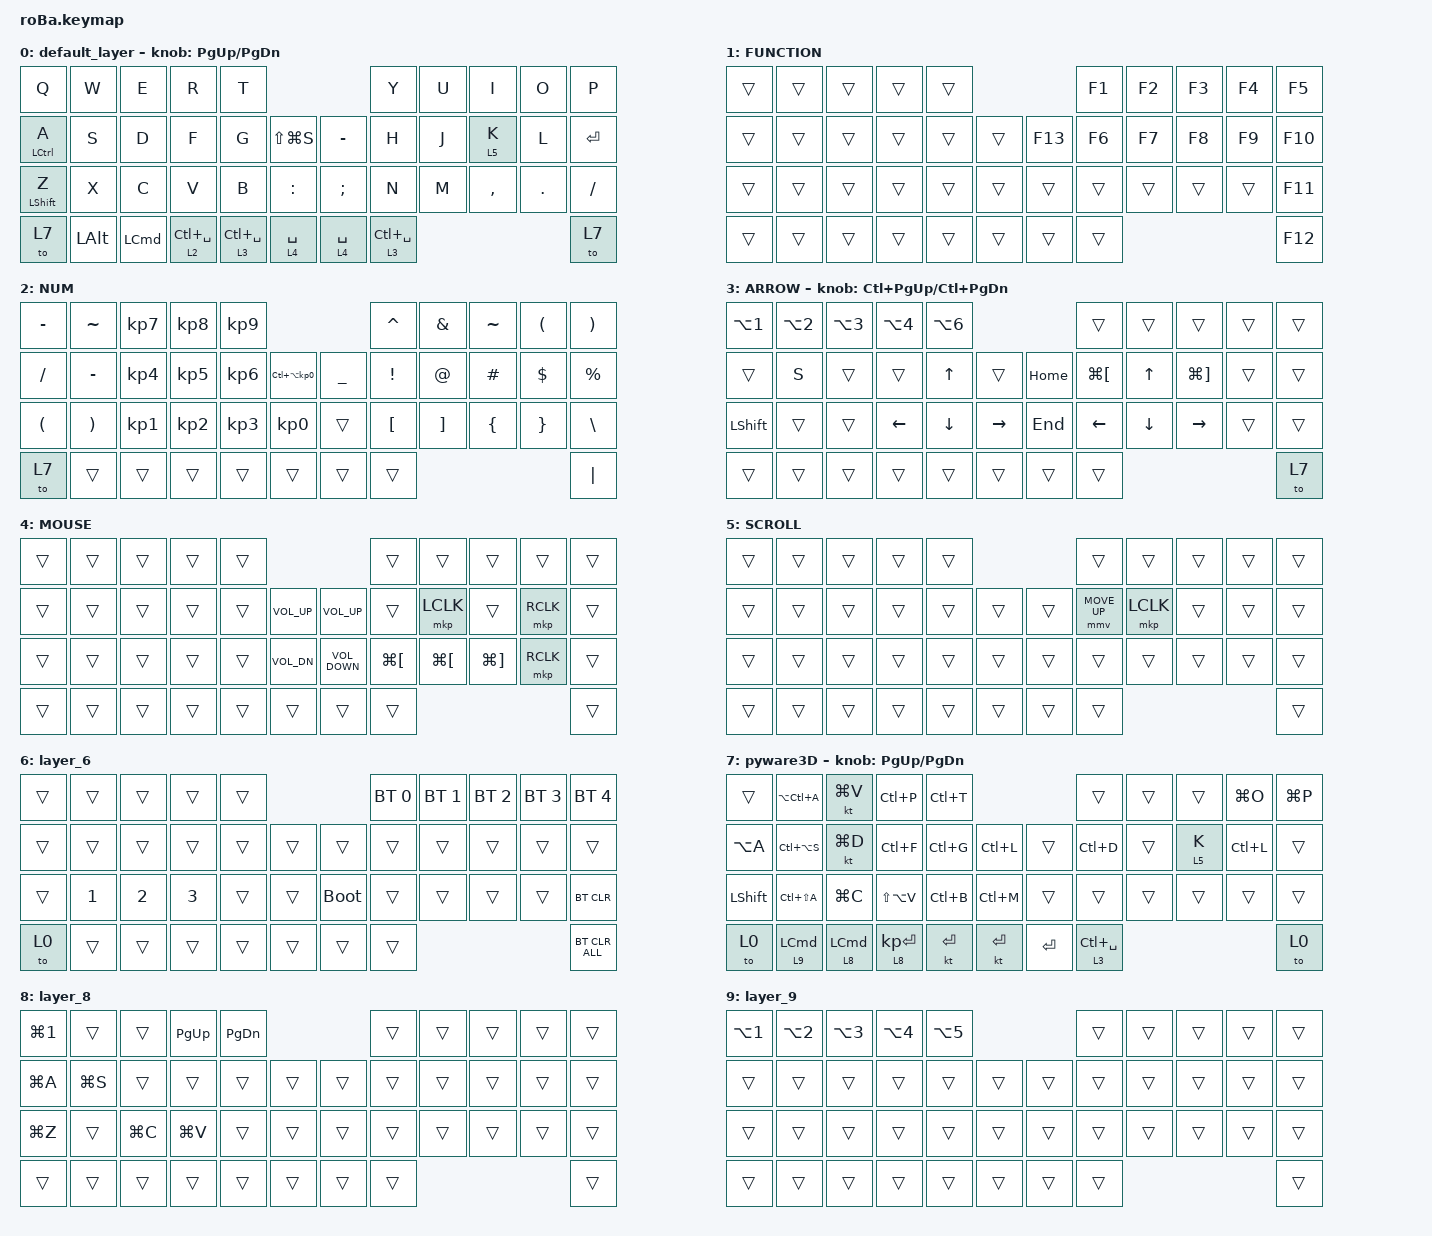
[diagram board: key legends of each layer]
#include <behaviors.dtsi>
#include <dt-bindings/zmk/bt.h>
#include <dt-bindings/zmk/keys.h>
#include <dt-bindings/zmk/pointing.h>

&mt {
    flavor = "balanced";
    quick-tap-ms = <0>;
};

&trackball {
    automouse-layer = <4>;
    scroll-layers = <5>;

    // arrows {
    //     layers = <3>;
    //     bindings =
    //         <&kp RIGHT_ARROW>,
    //         <&kp LEFT_ARROW>,
    //         <&kp UP_ARROW>,
    //         <&kp DOWN_ARROW>;
    //     tick = <10>;
    //     wait-ms = <5>;
    //     tap-ms = <5>;
    // };
};

/ {
    combos {
        compatible = "zmk,combos";

        tab {
            bindings = <&kp TAB>;
            key-positions = <11 12>;
        };

        shift_tab {
            bindings = <&kp LS(TAB)>;
            key-positions = <12 13>;
        };

        double_quotation {
            bindings = <&kp MINUS>;
            key-positions = <20 21>;
        };

        eq {
            bindings = <&kp EQUAL>;
            key-positions = <24 25>;
        };

        bs {
            bindings = <&kp BACKSPACE>;
            key-positions = <8 9>;
        };

        MC {
            bindings = <&kp LC(UP_ARROW)>;
            key-positions = <18 19>;
        };

        MCL {
            bindings = <&kp RC(LEFT)>;
            key-positions = <17 18>;
        };

        MCR {
            bindings = <&kp RC(RIGHT)>;
            key-positions = <19 20>;
        };
    };

    macros {
        to_layer_0: to_layer_0 {
            compatible = "zmk,behavior-macro-one-param";
            #binding-cells = <1>;
            bindings = <&to 0 &macro_param_1to1 &kp MACRO_PLACEHOLDER>;
            label = "TO_LAYER_0";
        };
    };

    behaviors {
        lt_to_layer_0: lt_to_layer_0 {
            compatible = "zmk,behavior-hold-tap";
            label = "LAYER_TAP_TO_0";
            bindings = <&mo>, <&to_layer_0>;

            #binding-cells = <2>;
            tapping-term-ms = <200>;
        };
    };

    keymap {
        compatible = "zmk,keymap";

        default_layer {
            bindings = <
&kp Q               &kp W         &kp E             &kp R            &kp T                                              &kp Y            &kp U  &kp I      &kp O    &kp P
&mt LEFT_CONTROL A  &kp S         &kp D             &kp F            &kp G            &kp LS(LG(S))      &kp MINUS      &kp H            &kp J  &lt 5 K    &kp L    &kp RETURN
&mt LEFT_SHIFT Z    &kp X         &kp C             &kp V            &kp B            &kp COLON          &kp SEMICOLON  &kp N            &kp M  &kp COMMA  &kp DOT  &kp SLASH
&to 7               &kp LEFT_ALT  &kp LEFT_COMMAND  &lt 2 LC(SPACE)  &lt 3 LC(SPACE)  &lt 4 SPACE        &lt 4 SPACE    &lt 3 LC(SPACE)                             &to 7
            >;

            sensor-bindings = <&inc_dec_kp PAGE_UP PAGE_DOWN>;
        };

        FUNCTION {
            bindings = <
&trans  &trans  &trans  &trans  &trans                       &kp F1  &kp F2  &kp F3  &kp F4  &kp F5
&trans  &trans  &trans  &trans  &trans  &trans      &kp F13  &kp F6  &kp F7  &kp F8  &kp F9  &kp F10
&trans  &trans  &trans  &trans  &trans  &trans      &trans   &trans  &trans  &trans  &trans  &kp F11
&trans  &trans  &trans  &trans  &trans  &trans      &trans   &trans                          &kp F12
            >;
        };

        NUM {
            bindings = <
&kp MINUS             &kp TILDE              &kp KP_NUMBER_7  &kp KP_NUMBER_8  &kp KP_NUMBER_9                                               &kp CARET         &kp AMPERSAND      &kp TILDE       &kp LEFT_PARENTHESIS  &kp RIGHT_PARENTHESIS
&kp SLASH             &kp MINUS              &kp KP_NUMBER_4  &kp KP_NUMBER_5  &kp KP_NUMBER_6  &kp LC(LA(KP_NUMBER_0))      &kp UNDERSCORE  &kp EXCLAMATION   &kp AT_SIGN        &kp HASH        &kp DOLLAR            &kp PERCENT
&kp LEFT_PARENTHESIS  &kp RIGHT_PARENTHESIS  &kp KP_NUMBER_1  &kp KP_NUMBER_2  &kp KP_NUMBER_3  &kp KP_NUMBER_0              &trans          &kp LEFT_BRACKET  &kp RIGHT_BRACKET  &kp LEFT_BRACE  &kp RIGHT_BRACE       &kp BACKSLASH
&to 7                 &trans                 &trans           &trans           &trans           &trans                       &trans          &trans                                                                     &kp PIPE
            >;
        };

        ARROW {
            bindings = <
&kp LA(NUMBER_1)  &kp LA(NUMBER_2)  &kp LA(NUMBER_3)  &kp LA(NUMBER_4)  &kp LA(NUMBER_6)                           &trans                &trans          &trans                 &trans  &trans
&trans            &kp S             &trans            &trans            &kp UP_ARROW      &trans         &kp HOME  &kp LG(LEFT_BRACKET)  &kp UP_ARROW    &kp LG(RIGHT_BRACKET)  &trans  &trans
&kp LEFT_SHIFT    &trans            &trans            &kp LEFT_ARROW    &kp DOWN          &kp RIGHT      &kp END   &kp LEFT              &kp DOWN_ARROW  &kp RIGHT              &trans  &trans
&trans            &trans            &trans            &trans            &trans            &trans         &trans    &trans                                                               &to 7
            >;

            sensor-bindings = <&inc_dec_kp LC(PAGE_UP) LC(PAGE_DOWN)>;
        };

        MOUSE {
            bindings = <
&trans  &trans  &trans  &trans  &trans                                          &trans                &trans                &trans                 &trans     &trans
&trans  &trans  &trans  &trans  &trans  &kp K_VOLUME_UP      &kp K_VOLUME_UP    &trans                &mkp LCLK             &trans                 &mkp RCLK  &trans
&trans  &trans  &trans  &trans  &trans  &kp K_VOL_DN         &kp K_VOLUME_DOWN  &kp LG(LEFT_BRACKET)  &kp LG(LEFT_BRACKET)  &kp LG(RIGHT_BRACKET)  &mkp RCLK  &trans
&trans  &trans  &trans  &trans  &trans  &trans               &trans             &trans                                                                        &trans
            >;
        };

        SCROLL {
            bindings = <
&trans  &trans  &trans  &trans  &trans                      &trans        &trans     &trans  &trans  &trans
&trans  &trans  &trans  &trans  &trans  &trans      &trans  &mmv MOVE_UP  &mkp LCLK  &trans  &trans  &trans
&trans  &trans  &trans  &trans  &trans  &trans      &trans  &trans        &trans     &trans  &trans  &trans
&trans  &trans  &trans  &trans  &trans  &trans      &trans  &trans                                   &trans
            >;
        };

        layer_6 {
            bindings = <
&trans  &trans        &trans        &trans        &trans                           &bt BT_SEL 0  &bt BT_SEL 1  &bt BT_SEL 2  &bt BT_SEL 3  &bt BT_SEL 4
&trans  &trans        &trans        &trans        &trans  &trans      &trans       &trans        &trans        &trans        &trans        &trans
&trans  &kp NUMBER_1  &kp NUMBER_2  &kp NUMBER_3  &trans  &trans      &bootloader  &trans        &trans        &trans        &trans        &bt BT_CLR
&to 0   &trans        &trans        &trans        &trans  &trans      &trans       &trans                                                  &bt BT_CLR_ALL
            >;
        };

        pyware3D {
            bindings = <
&trans          &kp LA(LC(A))       &kt LG(V)           &kp LC(P)       &kp LC(T)                           &trans           &trans  &trans   &kp LG(O)  &kp LG(P)
&kp LA(A)       &kp LC(LA(S))       &kt LG(D)           &kp LC(F)       &kp LC(G)  &kp LC(L)       &trans   &kp LC(D)        &trans  &lt 5 K  &kp LC(L)  &trans
&kp LEFT_SHIFT  &kp LC(LS(A))       &kp LG(C)           &kp LS(LA(V))   &kp LC(B)  &kp LC(M)       &trans   &trans           &trans  &trans   &trans     &trans
&to 0           &lt 9 LEFT_COMMAND  &lt 8 LEFT_COMMAND  &lt 8 KP_ENTER  &kt ENTER  &kt RETURN      &kp RET  &lt 3 LC(SPACE)                              &to 0
            >;

            sensor-bindings = <&inc_dec_kp PAGE_UP PAGE_DOWN>;
        };

        layer_8 {
            bindings = <
&kp LG(NUMBER_1)  &trans     &trans     &kp PAGE_UP  &kp PAGE_DOWN                      &trans  &trans  &trans  &trans  &trans
&kp LG(A)         &kp LG(S)  &trans     &trans       &trans         &trans      &trans  &trans  &trans  &trans  &trans  &trans
&kp LG(Z)         &trans     &kp LG(C)  &kp LG(V)    &trans         &trans      &trans  &trans  &trans  &trans  &trans  &trans
&trans            &trans     &trans     &trans       &trans         &trans      &trans  &trans                          &trans
            >;
        };

        layer_9 {
            bindings = <
&kp LA(NUMBER_1)  &kp LA(NUMBER_2)  &kp LA(NUMBER_3)  &kp LA(NUMBER_4)  &kp LA(N5)                      &trans  &trans  &trans  &trans  &trans
&trans            &trans            &trans            &trans            &trans      &trans      &trans  &trans  &trans  &trans  &trans  &trans
&trans            &trans            &trans            &trans            &trans      &trans      &trans  &trans  &trans  &trans  &trans  &trans
&trans            &trans            &trans            &trans            &trans      &trans      &trans  &trans                          &trans
            >;
        };
    };
};
